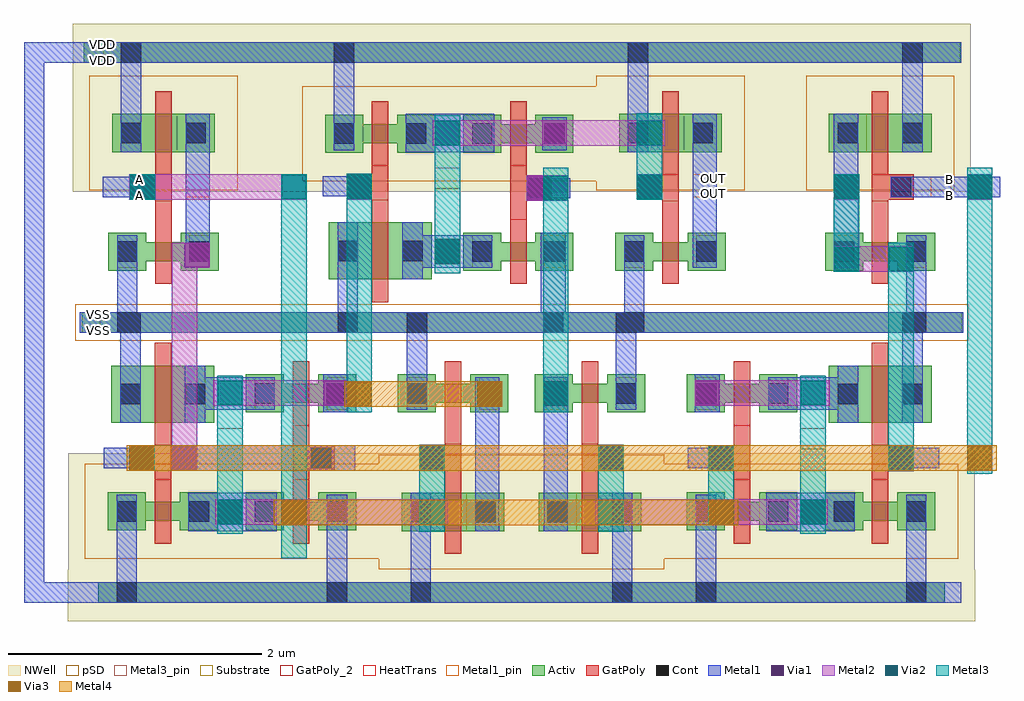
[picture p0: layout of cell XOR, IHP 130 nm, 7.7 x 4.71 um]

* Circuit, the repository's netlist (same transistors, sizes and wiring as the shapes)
* Extracted by KLayout with SG13G2 LVS runset on : 26/01/2026 21:59

.SUBCKT XOR B A VDD VSS OUT
X$33 B \$I1 VSS VDD \$I4 AND
X$34 \$I3 \$I4 VSS VDD OUT OR
X$35 VSS VDD A \$I1 INV_D1
X$36 \$I2 A VSS VDD \$I3 AND
X$37 VSS VDD B \$I2 INV_D1
.ENDS XOR

.SUBCKT OR VB VA VSS VDD VOUT
X$1 VSS VDD VA VB \$7 NOR
M$1 VDD \$7 VOUT VDD sg13_lv_pmos L=0.13u W=0.3u AS=0.102p AD=0.102p PS=1.28u
+ PD=1.28u
M$2 VSS \$7 VOUT VSS sg13_lv_nmos L=0.13u W=0.15u AS=0.1005p AD=0.1005p
+ PS=1.34u PD=1.34u
.ENDS OR

.SUBCKT AND VB VA VSS VDD VOUT
X$1 VA VB VDD VSS \$7 NAND
X$2 VSS VDD \$7 VOUT INV_D1
.ENDS AND

.SUBCKT NOR \$1 \$2 \$3 VB \$5
M$1 \$5 \$3 \$1 \$1 sg13_lv_nmos L=0.13u W=0.45u AS=0.153p AD=0.153p PS=1.58u
+ PD=1.58u
M$2 \$1 VB \$5 \$1 sg13_lv_nmos L=0.13u W=0.15u AS=0.1005p AD=0.1005p PS=1.34u
+ PD=1.34u
M$3 \$7 \$3 \$2 \$2 sg13_lv_pmos L=0.13u W=0.15u AS=0.1005p AD=0.1005p PS=1.34u
+ PD=1.34u
M$4 \$5 VB \$7 \$2 sg13_lv_pmos L=0.13u W=0.15u AS=0.1005p AD=0.1005p PS=1.34u
+ PD=1.34u
.ENDS NOR

.SUBCKT INV_D1 \$1 \$2 VIN \$4
M$1 \$2 VIN \$4 \$2 sg13_lv_pmos L=0.13u W=0.3u AS=0.102p AD=0.102p PS=1.28u
+ PD=1.28u
M$2 \$1 VIN \$4 \$1 sg13_lv_nmos L=0.13u W=0.15u AS=0.1005p AD=0.1005p PS=1.34u
+ PD=1.34u
.ENDS INV_D1

.SUBCKT NAND \$1 VB \$3 \$4 \$5
M$1 \$5 \$1 \$7 \$4 sg13_lv_nmos L=0.13u W=0.15u AS=0.1005p AD=0.1005p PS=1.34u
+ PD=1.34u
M$2 \$7 VB \$4 \$4 sg13_lv_nmos L=0.13u W=0.45u AS=0.153p AD=0.153p PS=1.58u
+ PD=1.58u
M$3 \$3 \$1 \$5 \$3 sg13_lv_pmos L=0.13u W=0.15u AS=0.1005p AD=0.1005p PS=1.34u
+ PD=1.34u
M$4 \$5 VB \$3 \$3 sg13_lv_pmos L=0.13u W=0.15u AS=0.1005p AD=0.1005p PS=1.34u
+ PD=1.34u
.ENDS NAND

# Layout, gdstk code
from math import pi, radians
import gdstk
lib = gdstk.Library(unit=1e-6, precision=5e-09)
def R(c, l, rs):  # rectangles x0, y0, x1, y1
    for r in rs: c.add(gdstk.rectangle(r[:2], r[2:], *l))
Activ = (1, 0)
GatPoly = (5, 0)
GatPoly_2 = (5, 2)
Cont = (6, 0)
Metal1 = (8, 0)
Metal1_pin = (8, 2)
Metal2 = (10, 0)
pSD = (14, 0)
Via1 = (19, 0)
Via2 = (29, 0)
Metal3 = (30, 0)
Metal3_pin = (30, 2)
NWell = (31, 0)
Substrate = (40, 0)
Via3 = (49, 0)
Metal4 = (50, 0)
HeatTrans = (51, 0)

pmos = lib.new_cell('pmos')
R(pmos, Activ, [(0,0,0.3,0.3), (0.57,0,0.87,0.3), (0,0.075,0.87,0.225)])
R(pmos, GatPoly, [(0.37,-0.105,0.5,0.405), (0.37,-0.105,0.5,0.405)])
R(pmos, Cont, [(0.07,0.07,0.23,0.23), (0.64,0.07,0.8,0.23)])
R(pmos, Metal1, [(0.07,0.02,0.23,0.28), (0.07,0.02,0.23,0.28), (0.64,0.02,0.8,0.28), (0.64,0.02,0.8,0.28)])
R(pmos, pSD, [(-0.18,-0.225,1.05,0.525)])
R(pmos, NWell, [(-0.31,-0.31,1.18,0.61)])
R(pmos, Substrate, [(0.57,0,0.87,0.3)])
R(pmos, HeatTrans, [(0.37,-0.105,0.5,0.405)])
pmos.add(gdstk.Label('pmos', (0.435,0.15), layer=63, texttype=0))
pmos.add(gdstk.Label('pmos', (0.435,0.15), layer=51, texttype=0))

nmos = lib.new_cell('nmos')
R(nmos, Activ, [(0,0,0.3,0.3), (0,0,0.81,0.45), (0.51,0,0.81,0.3)])
R(nmos, GatPoly, [(0.34,-0.18,0.47,0.63)])
R(nmos, GatPoly_2, [(0.34,-0.18,0.47,0.63)])
R(nmos, Cont, [(0.07,0.145,0.23,0.305), (0.58,0.145,0.74,0.305)])
R(nmos, Metal1, [(0.07,0,0.23,0.45), (0.58,0,0.74,0.45)])
R(nmos, Metal1_pin, [(0.07,0,0.23,0.45), (0.58,0,0.74,0.45)])
R(nmos, HeatTrans, [(0.34,-0.18,0.47,0.63)])
nmos.add(gdstk.Label('nmos', (0.405,0.225), layer=63, texttype=0))
nmos.add(gdstk.Label('nmos', (0.405,0.225), layer=51, texttype=0))

nmos_3 = lib.new_cell('nmos$3')
R(nmos_3, Activ, [(0,0,0.3,0.3), (0.57,0,0.87,0.3), (0,0.075,0.87,0.225)])
R(nmos_3, GatPoly, [(0.37,-0.105,0.5,0.405)])
R(nmos_3, GatPoly_2, [(0.37,-0.105,0.5,0.405)])
R(nmos_3, Cont, [(0.07,0.07,0.23,0.23), (0.64,0.07,0.8,0.23)])
R(nmos_3, Metal1, [(0.07,0.02,0.23,0.28), (0.64,0.02,0.8,0.28)])
R(nmos_3, Metal1_pin, [(0.07,0.02,0.23,0.28), (0.64,0.02,0.8,0.28)])
R(nmos_3, HeatTrans, [(0.37,-0.105,0.5,0.405)])
nmos_3.add(gdstk.Label('nmos', (0.435,0.15), layer=63, texttype=0))
nmos_3.add(gdstk.Label('nmos', (0.435,0.15), layer=51, texttype=0))

via1_constraint = lib.new_cell('Via1_constraint')
R(via1_constraint, Metal1, [(0,0,0.2,0.2)])
R(via1_constraint, Metal2, [(0,0,0.2,0.2)])
R(via1_constraint, Via1, [(0.005,0.005,0.195,0.195)])

via2_constraint = lib.new_cell('Via2_constraint')
R(via2_constraint, Metal2, [(-0.005,-0.005,0.195,0.195)])
R(via2_constraint, Via2, [(0,0,0.19,0.19)])
R(via2_constraint, Metal3, [(-0.005,-0.005,0.195,0.195)])

nand = lib.new_cell('NAND')
R(nand, Activ, [(-0.075,-0.175,2.075,-0.015), (-0.085,1.955,2.095,2.115)])
R(nand, GatPoly, [(1.45,0.615,1.58,1.16), (0.16,0.875,0.36,1.075), (0.36,0.875,0.49,1.145), (1.58,0.875,1.78,1.075)])
R(nand, Cont, [(0.09,-0.175,0.25,-0.015), (0.18,0.895,0.34,1.055), (1.595,0.895,1.755,1.055), (0.06,1.955,0.22,2.115), (1.72,1.955,1.88,2.115)])
R(nand, Metal1, [(0.09,-0.175,0.25,0.245), (1.69,0.315,1.89,0.615), (0.76,0.335,1.31,0.595), (0.18,0.895,0.34,1.055), (1.595,0.895,1.755,1.055), (0.625,1.25,1.325,1.55), (0.06,1.525,0.22,2.115), (1.72,1.525,1.88,2.115)])
R(nand, Metal1_pin, [(0.09,-0.175,0.25,-0.015), (0.18,0.895,0.34,1.055), (1.595,0.895,1.755,1.055), (0.06,1.955,0.22,2.115), (1.72,1.955,1.88,2.115)])
R(nand, Metal2, [(0.825,0.36,1.89,0.56)])
R(nand, pSD, [(-0.13,-0.24,2.115,0.05)])
R(nand, Metal3, [(0.855,0.325,1.055,1.57)])
R(nand, Metal3_pin, [(0.855,0.74,1.055,0.905)])
R(nand, NWell, [(-0.325,1.855,2.26,2.26)])
nand.add(gdstk.Reference(pmos, (1.95,1.245), rotation=pi, x_reflection=True))
nand.add(gdstk.Reference(nmos, (0.83,0.245), rotation=pi, x_reflection=True))
nand.add(gdstk.Reference(nmos_3, (1.95,0.315), rotation=pi, x_reflection=True))
nand.add(gdstk.Reference(pmos, (0.86,1.245), rotation=pi, x_reflection=True))
nand.add(gdstk.Reference(via1_constraint, (1.69,0.36)))
nand.add(gdstk.Reference(via2_constraint, (0.86,0.365)))
nand.add(gdstk.Reference(via2_constraint, (0.86,1.305)))
nand.add(gdstk.Reference(via1_constraint, (0.855,1.3)))
nand.add(gdstk.Label('VA', (1.63,1.035), layer=8, texttype=2))
nand.add(gdstk.Label('VSS', (0.16,-0.05), layer=8, texttype=2))
nand.add(gdstk.Label('VDD', (0.085,2.075), layer=8, texttype=2))
nand.add(gdstk.Label('VDD', (1.745,2.075), layer=8, texttype=2))
nand.add(gdstk.Label('VB', (0.215,1.025), layer=8, texttype=2))
nand.add(gdstk.Label('VB', (0.295,1.015), layer=8, texttype=25))
nand.add(gdstk.Label('VOUT', (0.97,0.84), layer=30, texttype=2))

nmos_1 = lib.new_cell('nmos$1')
R(nmos_1, Activ, [(0,-0.145,0.3,0.155), (0.57,-0.145,0.87,0.155), (0,-0.07,0.87,0.08)])
R(nmos_1, GatPoly, [(0.37,-0.25,0.5,0.405)])
R(nmos_1, Cont, [(0.07,-0.075,0.23,0.085), (0.64,-0.075,0.8,0.085)])
R(nmos_1, Metal1, [(0.07,-0.125,0.23,0.135), (0.64,-0.125,0.8,0.135)])
R(nmos_1, Metal1_pin, [(0.07,-0.125,0.23,0.135), (0.64,-0.125,0.8,0.135)])
R(nmos_1, HeatTrans, [(0.37,-0.25,0.5,0.405)])
nmos_1.add(gdstk.Label('nmos', (0.435,0.005), layer=63, texttype=0))
nmos_1.add(gdstk.Label('nmos', (0.435,0.005), layer=51, texttype=0))

pmos_1 = lib.new_cell('pmos$1')
R(pmos_1, Activ, [(0,0,0.3,0.3), (0,0,0.81,0.3), (0.51,0,0.81,0.3)])
R(pmos_1, GatPoly, [(0.34,-0.18,0.47,0.48), (0.34,-0.18,0.47,0.48)])
R(pmos_1, Cont, [(0.07,0.07,0.23,0.23), (0.58,0.07,0.74,0.23)])
R(pmos_1, Metal1, [(0.07,0,0.23,0.3), (0.07,0,0.23,0.3), (0.58,0,0.74,0.3), (0.58,0,0.74,0.3)])
R(pmos_1, pSD, [(-0.18,-0.3,0.99,0.6)])
R(pmos_1, NWell, [(-0.31,-0.315,1.12,0.61)])
R(pmos_1, Substrate, [(0.51,0,0.81,0.3)])
R(pmos_1, HeatTrans, [(0.34,-0.18,0.47,0.48)])
pmos_1.add(gdstk.Label('pmos', (0.405,0.15), layer=63, texttype=0))
pmos_1.add(gdstk.Label('pmos', (0.405,0.15), layer=51, texttype=0))

inv_d1 = lib.new_cell('INV_D1')
R(inv_d1, Activ, [(-0.655,-1.24,0.555,-1.08), (-0.64,0.89,0.575,1.05)])
R(inv_d1, GatPoly, [(-0.075,-0.2,0.055,0.005), (-0.275,-0.19,-0.075,0.01)])
R(inv_d1, Cont, [(-0.375,-1.24,-0.215,-1.08), (-0.255,-0.17,-0.095,-0.01), (-0.345,0.89,-0.185,1.05)])
R(inv_d1, Metal1, [(-0.375,-1.24,-0.215,-0.73), (0.165,-0.73,0.355,0.485), (-0.255,-0.17,-0.095,-0.01), (-0.345,0.485,-0.185,1.05)])
R(inv_d1, Metal1_pin, [(-0.375,-1.24,-0.215,-1.08), (-0.255,-0.17,-0.095,-0.01), (0.165,-0.17,0.355,0.01), (-0.345,0.89,-0.185,1.05)])
R(inv_d1, pSD, [(-0.705,-1.305,0.6,-1.015)])
R(inv_d1, NWell, [(-0.725,0.795,0.705,1.195)])
inv_d1.add(gdstk.Reference(nmos_1, (-0.445,-0.605)))
inv_d1.add(gdstk.Reference(pmos_1, (-0.415,0.185)))
inv_d1.add(gdstk.Label('VDD', (-0.215,1.025), layer=8, texttype=2))
inv_d1.add(gdstk.Label('VSS', (-0.26,-1.105), layer=8, texttype=2))
inv_d1.add(gdstk.Label('VIN', (-0.155,-0.05), layer=8, texttype=2))
inv_d1.add(gdstk.Label('VOUT', (0.315,-0.025), layer=8, texttype=2))
inv_d1.add(gdstk.Label('VIN', (-0.23,-0.145), layer=8, texttype=25))

and_ = lib.new_cell('AND')
R(and_, Metal1, [(0.285,1.145,0.665,1.305), (1.92,1.145,2.27,1.305)])
R(and_, Metal2, [(1.165,1.55,3,1.75)])
R(and_, Metal3, [(2.775,1.125,2.975,1.805)])
and_.add(gdstk.Reference(nand, (0.325,0.25)))
and_.add(gdstk.Reference(inv_d1, (3.05,1.315)))
and_.add(gdstk.Reference(via2_constraint, (2.78,1.555)))
and_.add(gdstk.Reference(via1_constraint, (2.775,1.125)))
and_.add(gdstk.Reference(via2_constraint, (2.78,1.125)))
and_.add(gdstk.Label('VB', (0.315,1.165), layer=8, texttype=25))
and_.add(gdstk.Label('VDD', (0.48,2.22), layer=8, texttype=25))
and_.add(gdstk.Label('VSS', (0.505,0.095), layer=8, texttype=25))
and_.add(gdstk.Label('VA', (2.2,1.155), layer=8, texttype=25))
and_.add(gdstk.Label('VOUT', (3.39,1.165), layer=8, texttype=25))

via1_constraint_1 = lib.new_cell('Via1_constraint$1')
R(via1_constraint_1, Metal1, [(0,0,0.2,0.2)])
R(via1_constraint_1, Metal2, [(0,0,0.2,0.2)])
R(via1_constraint_1, Via1, [(0.005,0.005,0.195,0.195)])

via2_constraint_1 = lib.new_cell('Via2_constraint$1')
R(via2_constraint_1, Metal2, [(0,0,0.2,0.2)])
R(via2_constraint_1, Via2, [(0.005,0.005,0.195,0.195)])
R(via2_constraint_1, Metal3, [(0,0,0.2,0.2)])

pmos_2 = lib.new_cell('pmos$2')
R(pmos_2, Activ, [(0,0,0.3,0.3), (0.57,0,0.87,0.3), (0,0.075,0.87,0.225)])
R(pmos_2, GatPoly, [(0.37,-0.105,0.5,0.405), (0.37,-0.105,0.5,0.405)])
R(pmos_2, Cont, [(0.07,0.07,0.23,0.23), (0.64,0.07,0.8,0.23)])
R(pmos_2, Metal1, [(0.07,0.02,0.23,0.28), (0.07,0.02,0.23,0.28), (0.64,0.02,0.8,0.28), (0.64,0.02,0.8,0.28)])
R(pmos_2, pSD, [(-0.18,-0.225,1.05,0.525)])
R(pmos_2, NWell, [(-0.31,-0.31,1.18,0.61)])
R(pmos_2, Substrate, [(0.57,0,0.87,0.3)])
R(pmos_2, HeatTrans, [(0.37,-0.105,0.5,0.405)])
pmos_2.add(gdstk.Label('pmos', (0.435,0.15), layer=63, texttype=0))
pmos_2.add(gdstk.Label('pmos', (0.435,0.15), layer=51, texttype=0))

nmos_3_1 = lib.new_cell('nmos$3$1')
R(nmos_3_1, Activ, [(0,0,0.3,0.3), (0.57,0,0.87,0.3), (0,0.075,0.87,0.225)])
R(nmos_3_1, GatPoly, [(0.37,-0.105,0.5,0.405)])
R(nmos_3_1, GatPoly_2, [(0.37,-0.105,0.5,0.405)])
R(nmos_3_1, Cont, [(0.07,0.07,0.23,0.23), (0.64,0.07,0.8,0.23)])
R(nmos_3_1, Metal1, [(0.07,0.02,0.23,0.28), (0.64,0.02,0.8,0.28)])
R(nmos_3_1, Metal1_pin, [(0.07,0.02,0.23,0.28), (0.64,0.02,0.8,0.28)])
R(nmos_3_1, HeatTrans, [(0.37,-0.105,0.5,0.405)])
nmos_3_1.add(gdstk.Label('nmos', (0.435,0.15), layer=63, texttype=0))
nmos_3_1.add(gdstk.Label('nmos', (0.435,0.15), layer=51, texttype=0))

nmos_2_1 = lib.new_cell('nmos$2$1')
R(nmos_2_1, Activ, [(0,0,0.3,0.3), (0,0,0.81,0.45), (0.51,0,0.81,0.3)])
R(nmos_2_1, GatPoly, [(0.34,-0.18,0.47,0.63)])
R(nmos_2_1, GatPoly_2, [(0.34,-0.18,0.47,0.63)])
R(nmos_2_1, Cont, [(0.07,0.145,0.23,0.305), (0.58,0.145,0.74,0.305)])
R(nmos_2_1, Metal1, [(0.07,0,0.23,0.45), (0.58,0,0.74,0.45)])
R(nmos_2_1, Metal1_pin, [(0.07,0,0.23,0.45), (0.58,0,0.74,0.45)])
R(nmos_2_1, HeatTrans, [(0.34,-0.18,0.47,0.63)])
nmos_2_1.add(gdstk.Label('nmos', (0.405,0.225), layer=63, texttype=0))
nmos_2_1.add(gdstk.Label('nmos', (0.405,0.225), layer=51, texttype=0))

nor = lib.new_cell('NOR')
R(nor, Activ, [(-0.065,-0.175,2.06,-0.015), (-0.085,1.955,2.07,2.115)])
R(nor, GatPoly, [(1.45,0.615,1.58,1.16), (1.58,0.865,1.78,1.065), (0.16,0.875,0.36,1.075), (0.36,0.875,0.49,1.145)])
R(nor, Cont, [(0.09,-0.175,0.25,-0.015), (1.71,-0.175,1.87,-0.015), (1.595,0.885,1.755,1.045), (0.18,0.895,0.34,1.055), (0.06,1.955,0.22,2.115)])
R(nor, Metal1, [(0.09,-0.175,0.25,0.245), (1.69,-0.175,1.89,0.315), (1.69,0.315,1.89,0.615), (0.6,0.335,1.31,0.595), (1.595,0.885,1.755,1.045), (0.18,0.895,0.34,1.055), (0.625,1.25,1.325,1.55), (1.705,1.265,1.895,1.525), (0.06,1.525,0.22,2.115)])
R(nor, Metal1_pin, [(0.09,-0.175,0.25,-0.015), (1.71,-0.175,1.87,-0.015), (1.595,0.885,1.755,1.045), (0.18,0.895,0.34,1.055), (0.06,1.955,0.22,2.115)])
R(nor, Metal2, [(0.845,1.3,1.895,1.5)])
R(nor, pSD, [(-0.13,-0.24,2.115,0.05)])
R(nor, Via1, [(1.705,1.31,1.895,1.5)])
R(nor, Metal3, [(0.855,0.295,1.055,1.54)])
R(nor, Metal3_pin, [(0.855,0.96,1.055,1.125)])
R(nor, NWell, [(-0.32,1.855,2.26,2.26)])
nor.add(gdstk.Reference(via1_constraint_1, (0.855,0.565), x_reflection=True))
nor.add(gdstk.Reference(via2_constraint_1, (0.855,0.565), x_reflection=True))
nor.add(gdstk.Reference(via2_constraint_1, (0.855,1.5), x_reflection=True))
nor.add(gdstk.Reference(pmos_2, (0.86,1.245), rotation=pi, x_reflection=True))
nor.add(gdstk.Reference(nmos_3_1, (1.95,0.315), rotation=pi, x_reflection=True))
nor.add(gdstk.Reference(nmos_2_1, (0.83,0.245), rotation=pi, x_reflection=True))
nor.add(gdstk.Reference(pmos_2, (1.95,1.245), rotation=pi, x_reflection=True))
nor.add(gdstk.Label('VDD', (0.085,2.075), layer=8, texttype=2))
nor.add(gdstk.Label('VSS', (0.16,-0.05), layer=8, texttype=2))
nor.add(gdstk.Label('VSS', (1.78,-0.05), layer=8, texttype=2))
nor.add(gdstk.Label('VA', (0.235,0.975), layer=8, texttype=2))
nor.add(gdstk.Label('VB', (1.625,0.965), layer=8, texttype=2))
nor.add(gdstk.Label('VB', (1.705,0.955), layer=8, texttype=25))
nor.add(gdstk.Label('VOUT', (0.97,1.025), layer=30, texttype=2))

pmos_1_1 = lib.new_cell('pmos$1$1')
R(pmos_1_1, Activ, [(0,0,0.3,0.3), (0,0,0.81,0.3), (0.51,0,0.81,0.3)])
R(pmos_1_1, GatPoly, [(0.34,-0.18,0.47,0.48), (0.34,-0.18,0.47,0.48)])
R(pmos_1_1, Cont, [(0.07,0.07,0.23,0.23), (0.58,0.07,0.74,0.23)])
R(pmos_1_1, Metal1, [(0.07,0,0.23,0.3), (0.07,0,0.23,0.3), (0.58,0,0.74,0.3), (0.58,0,0.74,0.3)])
R(pmos_1_1, pSD, [(-0.18,-0.3,0.99,0.6)])
R(pmos_1_1, NWell, [(-0.31,-0.315,1.12,0.61)])
R(pmos_1_1, Substrate, [(0.51,0,0.81,0.3)])
R(pmos_1_1, HeatTrans, [(0.34,-0.18,0.47,0.48)])
pmos_1_1.add(gdstk.Label('pmos', (0.405,0.15), layer=63, texttype=0))
pmos_1_1.add(gdstk.Label('pmos', (0.405,0.15), layer=51, texttype=0))

inv_d1_1 = lib.new_cell('INV_D1$1')
R(inv_d1_1, Activ, [(-0.68,-1.24,0.54,-1.08), (-0.655,0.89,0.575,1.05)])
R(inv_d1_1, GatPoly, [(-0.075,-0.2,0.055,0.005), (-0.275,-0.19,-0.075,0.01)])
R(inv_d1_1, Cont, [(-0.375,-1.24,-0.215,-1.08), (-0.255,-0.17,-0.095,-0.01), (-0.345,0.89,-0.185,1.05)])
R(inv_d1_1, Metal1, [(-0.375,-1.24,-0.215,-0.73), (0.165,-0.73,0.355,0.485), (-0.255,-0.17,-0.095,-0.01), (-0.345,0.485,-0.185,1.05)])
R(inv_d1_1, Metal1_pin, [(-0.375,-1.24,-0.215,-1.08), (-0.255,-0.17,-0.095,-0.01), (0.165,-0.17,0.355,0.01), (-0.345,0.89,-0.185,1.05)])
R(inv_d1_1, pSD, [(-0.705,-1.305,0.6,-1.015)])
R(inv_d1_1, NWell, [(-0.725,0.795,0.705,1.195)])
R(inv_d1_1, Substrate, [(0.095,0.185,0.395,0.485)])
inv_d1_1.add(gdstk.Reference(pmos_1_1, (-0.415,0.185)))
inv_d1_1.add(gdstk.Reference(nmos_1, (-0.445,-0.605)))
inv_d1_1.add(gdstk.Label('nmos', (-0.015,-0.75), layer=63, texttype=0))
inv_d1_1.add(gdstk.Label('VSS', (-0.26,-1.105), layer=8, texttype=2))
inv_d1_1.add(gdstk.Label('VDD', (-0.215,1.025), layer=8, texttype=2))
inv_d1_1.add(gdstk.Label('VIN', (-0.155,-0.05), layer=8, texttype=2))
inv_d1_1.add(gdstk.Label('VOUT', (0.315,-0.025), layer=8, texttype=2))
inv_d1_1.add(gdstk.Label('VIN', (-0.23,-0.145), layer=8, texttype=25))

c_or = lib.new_cell('OR')
R(c_or, Metal1, [(1.595,0.885,1.925,1.045), (-0.03,0.9,0.35,1.06)])
R(c_or, Metal2, [(0.84,1.3,2.675,1.5)])
R(c_or, Metal3, [(2.45,0.875,2.65,1.555)])
c_or.add(gdstk.Reference(nor, (0,0)))
c_or.add(gdstk.Reference(inv_d1_1, (2.725,1.065)))
c_or.add(gdstk.Reference(via2_constraint_1, (2.45,1.3)))
c_or.add(gdstk.Reference(via1_constraint_1, (2.45,0.875)))
c_or.add(gdstk.Reference(via2_constraint_1, (2.45,0.875)))
c_or.add(gdstk.Label('VB', (1.885,0.995), layer=8, texttype=25))
c_or.add(gdstk.Label('VA', (0.03,0.995), layer=8, texttype=25))
c_or.add(gdstk.Label('VDD', (0.165,1.98), layer=8, texttype=25))
c_or.add(gdstk.Label('VSS', (0.19,-0.15), layer=8, texttype=25))
c_or.add(gdstk.Label('VOUT', (3.03,0.99), layer=8, texttype=25))

xor_placement = lib.new_cell('XOR_placement')
xor_placement.add(gdstk.Reference(and_, (-0.16,3.03), x_reflection=True))
xor_placement.add(gdstk.Reference(c_or, (1.88,2.97)))
xor_placement.add(gdstk.Reference(inv_d1, (0.605,4.035)))
xor_placement.add(gdstk.Reference(inv_d1, (6.24,4.035), rotation=pi, x_reflection=True))
xor_placement.add(gdstk.Reference(and_, (7,3.03), rotation=pi))

via3_constraint = lib.new_cell('Via3_constraint')
R(via3_constraint, Metal3, [(0,0,0.2,0.2)])
R(via3_constraint, Via3, [(0.005,0.005,0.195,0.195)])
R(via3_constraint, Metal4, [(0,0,0.2,0.2)])

xor_routed = lib.new_cell('XOR_routed')
R(xor_routed, Activ, [(0.125,4.405,6.99,4.565)])
xor_routed.add(gdstk.FlexPath([(2.27,1.285),(0.82,1.285)], 0.2, ends="flush", simple_path=True, layer=8, datatype=0))  # Metal1
xor_routed.add(gdstk.FlexPath([(6.495,3.425),(7.355,3.425)], 0.16, ends="flush", simple_path=True, layer=8, datatype=0))  # Metal1
xor_routed.add(gdstk.FlexPath([(6.045,2.855),(6.675,2.855)], 0.2, ends="flush", simple_path=True, layer=10, datatype=0))  # Metal2
xor_routed.add(gdstk.FlexPath([(3.95,3.415),(3.62,3.415)], 0.2, ends="flush", simple_path=True, layer=10, datatype=0))  # Metal2
xor_routed.add(gdstk.FlexPath([(0.485,3.425),(1.885,3.425)], 0.2, ends="flush", simple_path=True, layer=10, datatype=0))  # Metal2
xor_routed.add(gdstk.FlexPath([(0.92,1.185),(0.92,2.885),(1.12,2.885)], 0.2, ends="flush", simple_path=True, layer=10, datatype=0))  # Metal2
xor_routed.add(gdstk.FlexPath([(6.145,3.525),(6.145,2.755)], 0.2, ends="flush", simple_path=True, layer=30, datatype=0))  # Metal3
xor_routed.add(gdstk.FlexPath([(6.575,1.18),(6.575,2.985)], 0.2, ends="flush", simple_path=True, layer=30, datatype=0))  # Metal3
xor_routed.add(gdstk.FlexPath([(2.3,3.53),(2.3,1.645)], 0.2, ends="flush", simple_path=True, layer=30, datatype=0))  # Metal3
xor_routed.add(gdstk.FlexPath([(3.85,1.645),(3.85,3.575)], 0.2, ends="flush", simple_path=True, layer=30, datatype=0))  # Metal3
xor_routed.add(gdstk.FlexPath([(1.785,3.525),(1.785,0.495)], 0.2, ends="flush", simple_path=True, layer=30, datatype=0))  # Metal3
xor_routed.add(gdstk.FlexPath([(7.195,3.575),(7.195,1.16)], 0.2, ends="flush", simple_path=True, layer=30, datatype=0))  # Metal3
xor_routed.add(gdstk.FlexPath([(5.155,0.755),(5.155,1.385)], 0.2, ends="flush", simple_path=True, layer=30, datatype=0))  # Metal3
xor_routed.add(gdstk.FlexPath([(3.43,1.79),(2.18,1.79)], 0.2, ends="flush", simple_path=True, layer=50, datatype=0))  # Metal4
xor_routed.add(gdstk.FlexPath([(0.465,1.285),(7.33,1.285)], 0.2, ends="flush", simple_path=True, layer=50, datatype=0))  # Metal4
xor_routed.add(gdstk.FlexPath([(5.29,0.855),(1.625,0.855)], 0.2, ends="flush", simple_path=True, layer=50, datatype=0))  # Metal4
xor_routed.add(gdstk.Reference(xor_placement, (0.16,-0.52)))
xor_routed.add(gdstk.Reference(via1_constraint, (0.49,3.325)))
xor_routed.add(gdstk.Reference(via2_constraint, (0.495,3.33)))
xor_routed.add(gdstk.Reference(via1_constraint, (6.045,3.325)))
xor_routed.add(gdstk.Reference(via1_constraint, (0.82,1.185)))
xor_routed.add(gdstk.Reference(via2_constraint, (6.05,3.33)))
xor_routed.add(gdstk.Reference(via2_constraint, (6.48,2.76)))
xor_routed.add(gdstk.Reference(via2_constraint, (6.48,1.185)))
xor_routed.add(gdstk.Reference(via1_constraint, (6.475,1.18)))
xor_routed.add(gdstk.Reference(via2_constraint, (6.05,2.76)))
xor_routed.add(gdstk.Reference(xor_placement, (0.16,-0.52)))
xor_routed.add(gdstk.Reference(via1_constraint, (3.23,1.69)))
xor_routed.add(gdstk.Reference(via2_constraint, (3.235,1.695)))
xor_routed.add(gdstk.Reference(via3_constraint, (3.23,1.69)))
xor_routed.add(gdstk.Reference(via3_constraint, (2.2,1.69)))
xor_routed.add(gdstk.Reference(via2_constraint, (2.205,3.33)))
xor_routed.add(gdstk.Reference(via1_constraint, (2.2,3.325)))
xor_routed.add(gdstk.Reference(via1_constraint, (3.75,1.695)))
xor_routed.add(gdstk.Reference(via2_constraint, (3.755,1.7)))
xor_routed.add(gdstk.Reference(via2_constraint, (3.755,3.32)))
xor_routed.add(gdstk.Reference(via1_constraint, (3.62,3.315)))
xor_routed.add(gdstk.Reference(via3_constraint, (7.095,1.185)))
xor_routed.add(gdstk.Reference(via2_constraint, (1.69,3.33)))
xor_routed.add(gdstk.Reference(via3_constraint, (1.685,0.755)))
xor_routed.add(gdstk.Reference(via1_constraint, (0.485,1.185)))
xor_routed.add(gdstk.Reference(via2_constraint, (0.49,1.19)))
xor_routed.add(gdstk.Reference(via3_constraint, (0.485,1.185)))
xor_routed.add(gdstk.Reference(via1_constraint, (7.095,3.325)))
xor_routed.add(gdstk.Reference(via2_constraint, (7.1,3.33)))
xor_routed.add(gdstk.Reference(via1_constraint, (0.92,2.785)))
xor_routed.add(gdstk.Reference(via1_constraint, (5.055,1.185)))
xor_routed.add(gdstk.Reference(via2_constraint, (5.06,1.19)))
xor_routed.add(gdstk.Reference(via3_constraint, (5.055,0.755)))

xor = lib.new_cell('XOR')
R(xor, Metal1, [(6.66,3.345,6.97,3.505)])
R(xor, Metal1_pin, [(0.095,2.275,0.255,2.435), (0.51,3.345,0.67,3.505), (6.81,3.345,6.97,3.505), (4.945,3.355,5.105,3.515), (0.125,4.405,0.285,4.565)])
R(xor, NWell, [(0.04,3.385,7.125,4.71)])
xor.add(gdstk.FlexPath([(0.125,4.485),(7.05,4.485)], 0.16, ends="flush", simple_path=True, layer=8, datatype=0))  # Metal1
xor.add(gdstk.FlexPath([(0.125,0.225),(7.05,0.225)], 0.16, ends="flush", simple_path=True, layer=8, datatype=0))  # Metal1
xor.add(gdstk.FlexPath([(0.095,2.355),(7.065,2.355)], 0.16, ends="flush", simple_path=True, layer=8, datatype=0))  # Metal1
xor.add(gdstk.FlexPath([(0.275,3.425),(0.69,3.425)], 0.16, ends="flush", simple_path=True, layer=8, datatype=0))  # Metal1
xor.add(gdstk.FlexPath([(0.125,0.225),(-0.265,0.225),(-0.265,4.485),(0.125,4.485)], 0.16, ends="flush", simple_path=True, layer=8, datatype=0))  # Metal1
xor.add(gdstk.Reference(xor_routed, (0,0)))
xor.add(gdstk.Label('OUT', (5.095,3.495), layer=8, texttype=2))
xor.add(gdstk.Label('B', (6.96,3.485), layer=8, texttype=2))
xor.add(gdstk.Label('A', (0.565,3.485), layer=8, texttype=2))
xor.add(gdstk.Label('VDD', (0.275,4.545), layer=8, texttype=2))
xor.add(gdstk.Label('VSS', (0.245,2.415), layer=8, texttype=2))
xor.add(gdstk.Label('OUT', (5.095,3.37), layer=8, texttype=25))
xor.add(gdstk.Label('B', (6.96,3.36), layer=8, texttype=25))
xor.add(gdstk.Label('A', (0.565,3.36), layer=8, texttype=25))
xor.add(gdstk.Label('VDD', (0.275,4.42), layer=8, texttype=25))
xor.add(gdstk.Label('VSS', (0.245,2.29), layer=8, texttype=25))

lib.write_gds('XOR.gds')
